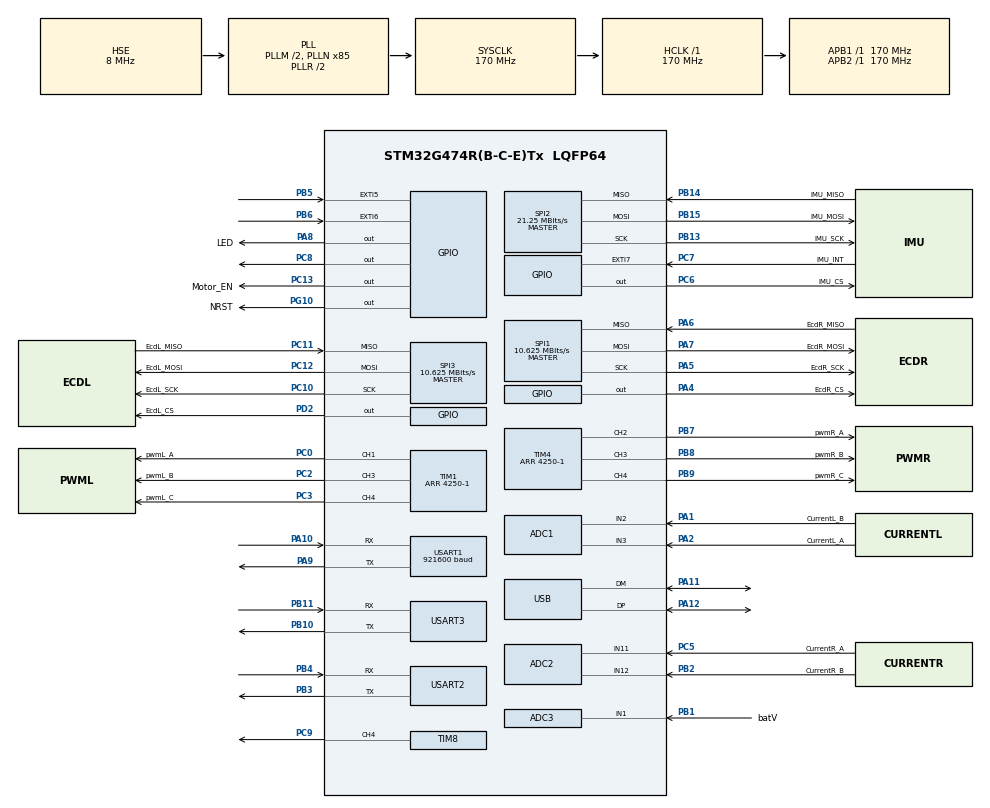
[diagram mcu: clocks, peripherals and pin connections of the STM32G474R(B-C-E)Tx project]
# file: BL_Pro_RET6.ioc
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ADC1.Channel-1\#ChannelRegularConversion=ADC_CHANNEL_3
ADC1.Channel-2\#ChannelRegularConversion=ADC_CHANNEL_2
ADC1.DMAContinuousRequests=ENABLE
ADC1.EOCSelection=ADC_EOC_SEQ_CONV
ADC1.ExternalTrigConv=ADC_EXTERNALTRIG_T3_CC4
ADC1.ExternalTrigConvEdge=ADC_EXTERNALTRIGCONVEDGE_FALLING
ADC1.NbrOfConversion=2
ADC1.NbrOfConversionFlag=1
ADC1.OffsetNumber-1\#ChannelRegularConversion=ADC_OFFSET_NONE
ADC1.OffsetNumber-2\#ChannelRegularConversion=ADC_OFFSET_NONE
ADC1.OversamplingMode=DISABLE
ADC1.Rank-1\#ChannelRegularConversion=1
ADC1.Rank-2\#ChannelRegularConversion=2
ADC1.SamplingTime-1\#ChannelRegularConversion=ADC_SAMPLETIME_24CYCLES_5
ADC1.SamplingTime-2\#ChannelRegularConversion=ADC_SAMPLETIME_24CYCLES_5
ADC1.master=1
ADC2.Channel-2\#ChannelRegularConversion=ADC_CHANNEL_11
ADC2.Channel-3\#ChannelRegularConversion=ADC_CHANNEL_12
ADC2.DMAContinuousRequests=ENABLE
ADC2.EOCSelection=ADC_EOC_SEQ_CONV
ADC2.ExternalTrigConv=ADC_EXTERNALTRIG_T2_CC2
ADC2.ExternalTrigConvEdge=ADC_EXTERNALTRIGCONVEDGE_FALLING
ADC2.NbrOfConversion=2
ADC2.NbrOfConversionFlag=1
ADC2.OffsetNumber-2\#ChannelRegularConversion=ADC_OFFSET_NONE
ADC2.OffsetNumber-3\#ChannelRegularConversion=ADC_OFFSET_NONE
ADC2.Rank-2\#ChannelRegularConversion=1
ADC2.Rank-3\#ChannelRegularConversion=2
ADC2.SamplingTime-2\#ChannelRegularConversion=ADC_SAMPLETIME_24CYCLES_5
ADC2.SamplingTime-3\#ChannelRegularConversion=ADC_SAMPLETIME_24CYCLES_5
ADC3.Channel-0\#ChannelRegularConversion=ADC_CHANNEL_1
ADC3.NbrOfConversionFlag=1
ADC3.OffsetNumber-0\#ChannelRegularConversion=ADC_OFFSET_NONE
ADC3.OversamplingMode=ENABLE
ADC3.Rank-0\#ChannelRegularConversion=1
ADC3.Ratio=ADC_OVERSAMPLING_RATIO_4
ADC3.RightBitShift=ADC_RIGHTBITSHIFT_2
ADC3.SamplingTime-0\#ChannelRegularConversion=ADC_SAMPLETIME_247CYCLES_5
ADC3.master=1
Dma.ADC1.2.Direction=DMA_PERIPH_TO_MEMORY
Dma.ADC1.2.EventEnable=DISABLE
Dma.ADC1.2.Instance=DMA1_Channel1
Dma.ADC1.2.MemDataAlignment=DMA_MDATAALIGN_HALFWORD
Dma.ADC1.2.MemInc=DMA_MINC_ENABLE
Dma.ADC1.2.Mode=DMA_CIRCULAR
Dma.ADC1.2.PeriphDataAlignment=DMA_PDATAALIGN_HALFWORD
Dma.ADC1.2.PeriphInc=DMA_PINC_DISABLE
Dma.ADC1.2.Polarity=HAL_DMAMUX_REQ_GEN_RISING
Dma.ADC1.2.Priority=DMA_PRIORITY_HIGH
Dma.ADC1.2.RequestNumber=1
Dma.ADC1.2.SignalID=NONE
Dma.ADC1.2.SyncEnable=DISABLE
Dma.ADC1.2.SyncPolarity=HAL_DMAMUX_SYNC_NO_EVENT
Dma.ADC1.2.SyncRequestNumber=1
Dma.ADC1.2.SyncSignalID=NONE
Dma.ADC2.3.Direction=DMA_PERIPH_TO_MEMORY
Dma.ADC2.3.EventEnable=DISABLE
Dma.ADC2.3.Instance=DMA1_Channel2
Dma.ADC2.3.MemDataAlignment=DMA_MDATAALIGN_HALFWORD
Dma.ADC2.3.MemInc=DMA_MINC_ENABLE
Dma.ADC2.3.Mode=DMA_CIRCULAR
Dma.ADC2.3.PeriphDataAlignment=DMA_PDATAALIGN_HALFWORD
Dma.ADC2.3.PeriphInc=DMA_PINC_DISABLE
Dma.ADC2.3.Polarity=HAL_DMAMUX_REQ_GEN_RISING
Dma.ADC2.3.Priority=DMA_PRIORITY_HIGH
Dma.ADC2.3.RequestNumber=1
Dma.ADC2.3.SignalID=NONE
Dma.ADC2.3.SyncEnable=DISABLE
Dma.ADC2.3.SyncPolarity=HAL_DMAMUX_SYNC_NO_EVENT
Dma.ADC2.3.SyncRequestNumber=1
Dma.ADC2.3.SyncSignalID=NONE
Dma.Request0=SPI3_TX
Dma.Request1=SPI3_RX
Dma.Request2=ADC1
Dma.Request3=ADC2
Dma.Request4=SPI2_RX
Dma.Request5=SPI2_TX
Dma.Request6=USART1_RX
Dma.SPI2_RX.4.Direction=DMA_PERIPH_TO_MEMORY
Dma.SPI2_RX.4.EventEnable=DISABLE
Dma.SPI2_RX.4.Instance=DMA1_Channel5
Dma.SPI2_RX.4.MemDataAlignment=DMA_MDATAALIGN_BYTE
Dma.SPI2_RX.4.MemInc=DMA_MINC_ENABLE
Dma.SPI2_RX.4.Mode=DMA_NORMAL
Dma.SPI2_RX.4.PeriphDataAlignment=DMA_PDATAALIGN_BYTE
Dma.SPI2_RX.4.PeriphInc=DMA_PINC_DISABLE
Dma.SPI2_RX.4.Polarity=HAL_DMAMUX_REQ_GEN_RISING
Dma.SPI2_RX.4.Priority=DMA_PRIORITY_HIGH
Dma.SPI2_RX.4.RequestNumber=1
Dma.SPI2_RX.4.SignalID=NONE
Dma.SPI2_RX.4.SyncEnable=DISABLE
Dma.SPI2_RX.4.SyncPolarity=HAL_DMAMUX_SYNC_NO_EVENT
Dma.SPI2_RX.4.SyncRequestNumber=1
Dma.SPI2_RX.4.SyncSignalID=NONE
Dma.SPI2_TX.5.Direction=DMA_MEMORY_TO_PERIPH
Dma.SPI2_TX.5.EventEnable=DISABLE
Dma.SPI2_TX.5.Instance=DMA1_Channel6
Dma.SPI2_TX.5.MemDataAlignment=DMA_MDATAALIGN_BYTE
Dma.SPI2_TX.5.MemInc=DMA_MINC_ENABLE
Dma.SPI2_TX.5.Mode=DMA_NORMAL
Dma.SPI2_TX.5.PeriphDataAlignment=DMA_PDATAALIGN_BYTE
Dma.SPI2_TX.5.PeriphInc=DMA_PINC_DISABLE
Dma.SPI2_TX.5.Polarity=HAL_DMAMUX_REQ_GEN_RISING
Dma.SPI2_TX.5.Priority=DMA_PRIORITY_HIGH
Dma.SPI2_TX.5.RequestNumber=1
Dma.SPI2_TX.5.SignalID=NONE
Dma.SPI2_TX.5.SyncEnable=DISABLE
Dma.SPI2_TX.5.SyncPolarity=HAL_DMAMUX_SYNC_NO_EVENT
Dma.SPI2_TX.5.SyncRequestNumber=1
Dma.SPI2_TX.5.SyncSignalID=NONE
Dma.SPI3_RX.1.Direction=DMA_PERIPH_TO_MEMORY
Dma.SPI3_RX.1.EventEnable=DISABLE
Dma.SPI3_RX.1.Instance=DMA1_Channel4
Dma.SPI3_RX.1.MemDataAlignment=DMA_MDATAALIGN_HALFWORD
Dma.SPI3_RX.1.MemInc=DMA_MINC_ENABLE
Dma.SPI3_RX.1.Mode=DMA_NORMAL
Dma.SPI3_RX.1.PeriphDataAlignment=DMA_PDATAALIGN_HALFWORD
Dma.SPI3_RX.1.PeriphInc=DMA_PINC_DISABLE
Dma.SPI3_RX.1.Polarity=HAL_DMAMUX_REQ_GEN_RISING
Dma.SPI3_RX.1.Priority=DMA_PRIORITY_MEDIUM
Dma.SPI3_RX.1.RequestNumber=1
Dma.SPI3_RX.1.SignalID=NONE
Dma.SPI3_RX.1.SyncEnable=DISABLE
Dma.SPI3_RX.1.SyncPolarity=HAL_DMAMUX_SYNC_NO_EVENT
Dma.SPI3_RX.1.SyncRequestNumber=1
Dma.SPI3_RX.1.SyncSignalID=NONE
Dma.SPI3_TX.0.Direction=DMA_MEMORY_TO_PERIPH
Dma.SPI3_TX.0.EventEnable=DISABLE
Dma.SPI3_TX.0.Instance=DMA1_Channel3
Dma.SPI3_TX.0.MemDataAlignment=DMA_MDATAALIGN_HALFWORD
Dma.SPI3_TX.0.MemInc=DMA_MINC_ENABLE
Dma.SPI3_TX.0.Mode=DMA_NORMAL
Dma.SPI3_TX.0.PeriphDataAlignment=DMA_PDATAALIGN_HALFWORD
Dma.SPI3_TX.0.PeriphInc=DMA_PINC_DISABLE
Dma.SPI3_TX.0.Polarity=HAL_DMAMUX_REQ_GEN_RISING
Dma.SPI3_TX.0.Priority=DMA_PRIORITY_MEDIUM
Dma.SPI3_TX.0.RequestNumber=1
Dma.SPI3_TX.0.SignalID=NONE
Dma.SPI3_TX.0.SyncEnable=DISABLE
Dma.SPI3_TX.0.SyncPolarity=HAL_DMAMUX_SYNC_NO_EVENT
Dma.SPI3_TX.0.SyncRequestNumber=1
Dma.SPI3_TX.0.SyncSignalID=NONE
Dma.USART1_RX.6.Direction=DMA_PERIPH_TO_MEMORY
Dma.USART1_RX.6.EventEnable=DISABLE
Dma.USART1_RX.6.Instance=DMA1_Channel7
Dma.USART1_RX.6.MemDataAlignment=DMA_MDATAALIGN_BYTE
Dma.USART1_RX.6.MemInc=DMA_MINC_ENABLE
Dma.USART1_RX.6.Mode=DMA_CIRCULAR
Dma.USART1_RX.6.PeriphDataAlignment=DMA_PDATAALIGN_BYTE
Dma.USART1_RX.6.PeriphInc=DMA_PINC_DISABLE
Dma.USART1_RX.6.Polarity=HAL_DMAMUX_REQ_GEN_RISING
Dma.USART1_RX.6.Priority=DMA_PRIORITY_MEDIUM
Dma.USART1_RX.6.RequestNumber=1
Dma.USART1_RX.6.SignalID=NONE
Dma.USART1_RX.6.SyncEnable=DISABLE
Dma.USART1_RX.6.SyncPolarity=HAL_DMAMUX_SYNC_NO_EVENT
Dma.USART1_RX.6.SyncRequestNumber=1
Dma.USART1_RX.6.SyncSignalID=NONE
Mcu.Family=STM32G4
Mcu.Name=STM32G474R(B-C-E)Tx
Mcu.Package=LQFP64
NVIC.DMA1_Channel1_IRQn=true\:0\:0\:false\:false\:true\:false\:true\:true
NVIC.DMA1_Channel2_IRQn=true\:0\:0\:false\:false\:true\:false\:true\:true
NVIC.DMA1_Channel3_IRQn=true\:0\:0\:false\:false\:true\:false\:true\:true
NVIC.DMA1_Channel4_IRQn=true\:0\:0\:false\:false\:true\:false\:true\:true
NVIC.DMA1_Channel5_IRQn=true\:0\:0\:false\:false\:true\:false\:true\:true
NVIC.DMA1_Channel6_IRQn=true\:0\:0\:false\:false\:true\:false\:true\:true
NVIC.DMA1_Channel7_IRQn=true\:0\:0\:false\:false\:true\:false\:true\:true
NVIC.EXTI9_5_IRQn=true\:1\:0\:true\:false\:true\:true\:true\:true
NVIC.PriorityGroup=NVIC_PRIORITYGROUP_4
NVIC.TIM5_IRQn=true\:0\:0\:false\:false\:true\:true\:true\:true
NVIC.USART1_IRQn=true\:2\:0\:true\:false\:true\:true\:true\:true
NVIC.USB_LP_IRQn=true\:0\:0\:false\:false\:true\:false\:true\:true
PA1.GPIO_Label=CurrentL_B
PA1.Mode=IN2-Single-Ended
PA1.Signal=ADC1_IN2
PA10.Mode=Asynchronous
PA10.Signal=USART1_RX
PA11.Mode=Device
PA11.Signal=USB_DM
PA12.Mode=Device
PA12.Signal=USB_DP
PA13.Mode=Serial_Wire
PA13.Signal=SYS_JTMS-SWDIO
PA14.Mode=Serial_Wire
PA14.Signal=SYS_JTCK-SWCLK
PA2.GPIO_Label=CurrentL_A
PA2.Mode=IN3-Single-Ended
PA2.Signal=ADC1_IN3
PA3.Signal=LPUART1_RX
PA4.GPIO_Label=EcdR_CS
PA4.Signal=GPIO_Output
PA5.GPIO_Label=EcdR_SCK
PA5.Mode=Full_Duplex_Master
PA5.Signal=SPI1_SCK
PA6.GPIO_Label=EcdR_MISO
PA6.Mode=Full_Duplex_Master
PA6.Signal=SPI1_MISO
PA7.GPIO_Label=EcdR_MOSI
PA7.Mode=Full_Duplex_Master
PA7.Signal=SPI1_MOSI
PA8.GPIO_Label=LED
PA8.GPIO_ModeDefaultOutputPP=GPIO_MODE_OUTPUT_PP
PA8.GPIO_Speed=GPIO_SPEED_FREQ_HIGH
PA8.PinState=GPIO_PIN_SET
PA8.Signal=GPIO_Output
PA9.Mode=Asynchronous
PA9.Signal=USART1_TX
PB1.GPIO_Label=batV
PB1.Mode=IN1-Single-Ended
PB1.Signal=ADC3_IN1
PB10.Mode=Asynchronous
PB10.Signal=USART3_TX
PB11.Mode=Asynchronous
PB11.Signal=USART3_RX
PB13.GPIO_Label=IMU_SCK
PB13.GPIO_Speed=GPIO_SPEED_FREQ_VERY_HIGH
PB13.Mode=Full_Duplex_Master
PB13.Signal=SPI2_SCK
PB14.GPIO_Label=IMU_MISO
PB14.GPIO_Speed=GPIO_SPEED_FREQ_VERY_HIGH
PB14.Mode=Full_Duplex_Master
PB14.Signal=SPI2_MISO
PB15.GPIO_Label=IMU_MOSI
PB15.GPIO_Speed=GPIO_SPEED_FREQ_VERY_HIGH
PB15.Mode=Full_Duplex_Master
PB15.Signal=SPI2_MOSI
PB2.GPIO_Label=CurrentR_B
PB2.Mode=IN12-Single-Ended
PB2.Signal=ADC2_IN12
PB3.Mode=Asynchronous
PB3.Signal=USART2_TX
PB4.Mode=Asynchronous
PB4.Signal=USART2_RX
PB5.Signal=GPXTI5
PB6.Signal=GPXTI6
PB7.GPIO_Label=pwmR_A
PB7.Signal=S_TIM4_CH2
PB8-BOOT0.GPIO_Label=pwmR_B
PB8-BOOT0.Signal=S_TIM4_CH3
PB9.GPIO_Label=pwmR_C
PB9.Signal=S_TIM4_CH4
PC0.GPIO_Label=pwmL_A
PC0.Signal=S_TIM1_CH1
PC1.Signal=LPUART1_TX
PC10.GPIO_Label=EcdL_SCK
PC10.Mode=Full_Duplex_Master
PC10.Signal=SPI3_SCK
PC11.GPIO_Label=EcdL_MISO
PC11.Mode=Full_Duplex_Master
PC11.Signal=SPI3_MISO
PC12.GPIO_Label=EcdL_MOSI
PC12.Mode=Full_Duplex_Master
PC12.Signal=SPI3_MOSI
PC13.GPIO_Label=Motor_EN
PC13.GPIO_ModeDefaultOutputPP=GPIO_MODE_OUTPUT_PP
PC13.GPIO_PuPd=GPIO_PULLUP
PC13.PinState=GPIO_PIN_RESET
PC13.Signal=GPIO_Output
PC2.GPIO_Label=pwmL_B
PC2.Signal=S_TIM1_CH3
PC3.GPIO_Label=pwmL_C
PC3.Signal=S_TIM1_CH4
PC5.GPIO_Label=CurrentR_A
PC5.Mode=IN11-Single-Ended
PC5.Signal=ADC2_IN11
PC6.GPIO_Label=IMU_CS
PC6.Signal=GPIO_Output
PC7.GPIO_Label=IMU_INT
PC7.GPIO_PuPd=GPIO_PULLDOWN
PC7.Signal=GPXTI7
PC8.Signal=GPIO_Output
PC9.Signal=S_TIM8_CH4
PD2.GPIO_Label=EcdL_CS
PD2.Signal=GPIO_Output
PF0-OSC_IN.Mode=HSE-External-Oscillator
PF0-OSC_IN.Signal=RCC_OSC_IN
PF1-OSC_OUT.Mode=HSE-External-Oscillator
PF1-OSC_OUT.Signal=RCC_OSC_OUT
PG10-NRST.GPIO_Label=NRST
PG10-NRST.Signal=GPIO_Output
ProjectManager.HeapSize=0x200
ProjectManager.StackSize=0x400
ProjectManager.TargetToolchain=CMake
RCC.ADC12Freq_Value=170000000
RCC.ADC345Freq_Value=170000000
RCC.AHBFreq_Value=170000000
RCC.APB1Freq_Value=170000000
RCC.APB1TimFreq_Value=170000000
RCC.APB2Freq_Value=170000000
RCC.APB2TimFreq_Value=170000000
RCC.CK48CLockSelection=RCC_USBCLKSOURCE_HSI48
RCC.CortexFreq_Value=170000000
RCC.EXTERNAL_CLOCK_VALUE=12288000
RCC.HCLKFreq_Value=170000000
RCC.HSE_VALUE=8000000
RCC.HSI48_VALUE=48000000
RCC.HSI_VALUE=16000000
RCC.LSE_VALUE=32768
RCC.PLLM=RCC_PLLM_DIV2
RCC.PLLN=85
RCC.PLLQ=RCC_PLLQ_DIV4
RCC.PLLSourceVirtual=RCC_PLLSOURCE_HSE
RCC.SYSCLKFreq_VALUE=170000000
RCC.SYSCLKSource=RCC_SYSCLKSOURCE_PLLCLK
RCC.USBFreq_Value=48000000
RCC.VCOOutputFreq_Value=340000000
SH.S_TIM1_CH1.0=TIM1_CH1,PWM Generation1 CH1
SH.S_TIM1_CH3.0=TIM1_CH3,PWM Generation3 CH3
SH.S_TIM1_CH4.0=TIM1_CH4,PWM Generation4 CH4
SH.S_TIM4_CH2.0=TIM4_CH2,PWM Generation2 CH2
SH.S_TIM4_CH3.0=TIM4_CH3,PWM Generation3 CH3
SH.S_TIM4_CH4.0=TIM4_CH4,PWM Generation4 CH4
SH.S_TIM8_CH4.0=TIM8_CH4,PWM Generation4 CH4
SPI1.BaudRatePrescaler=SPI_BAUDRATEPRESCALER_16
SPI1.CLKPhase=SPI_PHASE_2EDGE
SPI1.CalculateBaudRate=10.625 MBits/s
SPI1.DataSize=SPI_DATASIZE_16BIT
SPI1.Direction=SPI_DIRECTION_2LINES
SPI1.Mode=SPI_MODE_MASTER
SPI1.VirtualType=VM_MASTER
SPI2.BaudRatePrescaler=SPI_BAUDRATEPRESCALER_8
SPI2.CalculateBaudRate=21.25 MBits/s
SPI2.DataSize=SPI_DATASIZE_8BIT
SPI2.Direction=SPI_DIRECTION_2LINES
SPI2.Mode=SPI_MODE_MASTER
SPI2.NSSPMode=SPI_NSS_PULSE_DISABLE
SPI2.VirtualType=VM_MASTER
SPI3.BaudRatePrescaler=SPI_BAUDRATEPRESCALER_16
SPI3.CLKPhase=SPI_PHASE_2EDGE
SPI3.CalculateBaudRate=10.625 MBits/s
SPI3.DataSize=SPI_DATASIZE_16BIT
SPI3.Direction=SPI_DIRECTION_2LINES
SPI3.Mode=SPI_MODE_MASTER
SPI3.VirtualType=VM_MASTER
TIM1.AutoReloadPreload=TIM_AUTORELOAD_PRELOAD_ENABLE
TIM1.Channel-PWM\ Generation1\ CH1=TIM_CHANNEL_1
TIM1.Channel-PWM\ Generation3\ CH3=TIM_CHANNEL_3
TIM1.Channel-PWM\ Generation4\ CH4=TIM_CHANNEL_4
TIM1.CounterMode=TIM_COUNTERMODE_CENTERALIGNED1
TIM1.PeriodNoDither=4250-1
TIM1.TIM_MasterOutputTrigger=TIM_TRGO_UPDATE
TIM1.TIM_MasterOutputTrigger2=TIM_TRGO2_RESET
TIM1.TIM_MasterSlaveMode=TIM_MASTERSLAVEMODE_ENABLE
TIM2.AutoReloadPreload=TIM_AUTORELOAD_PRELOAD_ENABLE
TIM2.Channel-PWM\ Generation2\ No\ Output=TIM_CHANNEL_2
TIM2.OCMode_PWM-PWM\ Generation2\ No\ Output=TIM_OCMODE_PWM1
TIM2.PeriodNoDither=8500-1
TIM2.PulseNoDither_2=850
TIM2.TIM_MasterOutputTrigger=TIM_TRGO_UPDATE
TIM2.TIM_MasterSlaveMode=TIM_MASTERSLAVEMODE_ENABLE
TIM3.AutoReloadPreload=TIM_AUTORELOAD_PRELOAD_ENABLE
TIM3.Channel-PWM\ Generation4\ No\ Output=TIM_CHANNEL_4
TIM3.PeriodNoDither=8500-1
TIM3.Prescaler=0
TIM3.PulseNoDither_4=850
TIM3.TIM_MasterSlaveMode=TIM_MASTERSLAVEMODE_ENABLE
TIM4.AutoReloadPreload=TIM_AUTORELOAD_PRELOAD_ENABLE
TIM4.Channel-PWM\ Generation2\ CH2=TIM_CHANNEL_2
TIM4.Channel-PWM\ Generation3\ CH3=TIM_CHANNEL_3
TIM4.Channel-PWM\ Generation4\ CH4=TIM_CHANNEL_4
TIM4.CounterMode=TIM_COUNTERMODE_CENTERALIGNED1
TIM4.PeriodNoDither=4250-1
TIM4.TIM_MasterOutputTrigger=TIM_TRGO_UPDATE
TIM4.TIM_MasterSlaveMode=TIM_MASTERSLAVEMODE_ENABLE
TIM5.AutoReloadPreload=TIM_AUTORELOAD_PRELOAD_DISABLE
TIM5.PeriodNoDither=8500-1
TIM5.Prescaler=2-1
TIM8.AutoReloadPreload=TIM_AUTORELOAD_PRELOAD_ENABLE
TIM8.Channel-PWM\ Generation4\ CH4=TIM_CHANNEL_4
TIM8.OCMode_PWM-PWM\ Generation4\ CH4=TIM_OCMODE_PWM1
TIM8.OCPolarity_4=TIM_OCPOLARITY_HIGH
TIM8.PeriodNoDither=8500-1
TIM8.Prescaler=0
TIM8.PulseNoDither_4=1750
TIM8.TIM_MasterSlaveMode=TIM_MASTERSLAVEMODE_ENABLE
USART1.BaudRate=921600
USART1.VirtualMode-Asynchronous=VM_ASYNC
USART2.VirtualMode-Asynchronous=VM_ASYNC
USART3.VirtualMode-Asynchronous=VM_ASYNC
USB_DEVICE.CLASS_NAME_FS=CDC
USB_DEVICE.VirtualMode=Cdc
USB_DEVICE.VirtualModeFS=Cdc_FS
VP_SYS_VS_DBSignals.Mode=DisableDeadBatterySignals
VP_TIM1_VS_ClockSourceINT.Mode=Internal
VP_TIM2_VS_ClockSourceITR.Mode=TriggerSource_ITR3
VP_TIM2_VS_ControllerModeReset.Mode=Reset Mode
VP_TIM2_VS_no_output2.Mode=PWM Generation2 No Output
VP_TIM3_VS_ClockSourceITR.Mode=TriggerSource_ITR0
VP_TIM3_VS_ControllerModeReset.Mode=Reset Mode
VP_TIM3_VS_no_output4.Mode=PWM Generation4 No Output
VP_TIM4_VS_ClockSourceINT.Mode=Internal
VP_TIM5_VS_ClockSourceINT.Mode=Internal
VP_TIM8_VS_ClockSourceITR.Mode=TriggerSource_ITR0
VP_TIM8_VS_ControllerModeReset.Mode=Reset Mode
VP_USB_DEVICE_VS_USB_DEVICE_CDC_FS.Mode=CDC_FS
board=custom

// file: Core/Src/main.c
/* USER CODE BEGIN Header */
/**
  ******************************************************************************
  * @file           : main.c
  * @brief          : PWM 裸测 —— 仅 TIM1 + TIM4，屏蔽所有其他功能
  ******************************************************************************
  * Copyright (c) 2026 STMicroelectronics. All rights reserved.
  ******************************************************************************
  */
/* USER CODE END Header */
#include "main.h"
#include "adc.h"
#include "dma.h"
#include "spi.h"
#include "tim.h"
#include "usart.h"
#include "usb_device.h"
#include "gpio.h"

/* USER CODE BEGIN Includes */
#include "sys.h"   /* 保留：INT.c 中有 extern AS5047P_Handle encoder_right */
#include <math.h>
#include "stm32g4xx_hal.h"
#include "AS5047P_RW.h"
#include "sensor.h"
#include "BLDCMotor.h"
#include "app_foc.h"
#include "app_attitude.h"
#include "usb_debug.h"
#include "icm42688p.h"
#include "debug_link.h"

/* USER CODE END Includes */

/* USER CODE BEGIN PV */
static uint32_t g_icm_last_print_ms = 0U;

/* USER CODE END PV */

void SystemClock_Config(void);

int main(void)
{

  /* MCU Configuration--------------------------------------------------------*/

  /* Reset of all peripherals, Initializes the Flash interface and the Systick. */
  HAL_Init();

  /* Configure the system clock */
  SystemClock_Config();

  /* Initialize all configured peripherals */
  MX_GPIO_Init();
  MX_DMA_Init();
  MX_ADC1_Init();
  MX_ADC2_Init();
  MX_ADC3_Init();
  MX_USART1_UART_Init();
  MX_USART2_UART_Init();
  MX_USART3_UART_Init();
  MX_TIM4_Init();
  MX_TIM1_Init();
  MX_TIM2_Init();
  MX_TIM3_Init();
  MX_SPI3_Init();
  MX_USB_Device_Init();
  MX_TIM8_Init();
  MX_SPI1_Init();
  MX_TIM5_Init();
  MX_SPI2_Init();
  /* USER CODE BEGIN 2 */
  HAL_Delay(2000);

  App_Attitude_Init();

  DebugLink_Init();
  if (!App_FOCStack_Init()) {
      USB_Debug_Printf("FOC stack init failed, keep bus telemetry only\r\n");
      (void)App_FOC_BusTelemetryInit();
  } else {
      if (!App_StartupCalibrate()) {
          USB_Debug_Printf("FOC startup calibrate failed, keep stack init only\r\n");
      }
  }
  App_FOCControlIT_Enable();

  /* USER CODE END 2 */

  /* Infinite loop */
  while (1)
  {

    /* USER CODE BEGIN 3 */
    App_Attitude_Loop();
    App_FOC_BusTelemetryService();

    /* 更新 DebugLink 状态快照 */
    {
        DebugLink_StatusSnapshot_t st;
        App_AttitudeTelemetry_t att_telem;
        App_FOCTelemetry_t foc_telem;
        App_Attitude_GetTelemetry(&att_telem);
        App_FOC_GetTelemetry(&foc_telem);
        st.tick_ms                  = HAL_GetTick();
        st.pitch_target_deg_x100    = (int16_t)(att_telem.pitch_target_rad * 5729.578f);
        st.speed_p_term_deg_x100    = (int16_t)(att_telem.speed_p_term_rad * 5729.578f);
        st.speed_i_term_deg_x100    = (int16_t)(att_telem.speed_i_term_rad * 5729.578f);
        st.pitch_meas_deg_x100      = (int16_t)(att_telem.pitch_meas_rad * 5729.578f);
        st.pitch_rate_dps_x100      = (int16_t)(att_telem.pitch_rate_meas_radps * 5729.578f);
        st.speed_target_radps_x1000 = (int16_t)(att_telem.speed_target_radps * 1000.0f);
        st.speed_meas_radps_x1000   = (int16_t)(att_telem.speed_meas_radps * 1000.0f);
        st.attitude_p_term_ma     = (int16_t)(att_telem.attitude_p_term_a * 1000.0f);
        st.attitude_d_term_ma     = (int16_t)(att_telem.attitude_d_term_a * 1000.0f);
        st.iq_cmd_ma                = (int16_t)(att_telem.iq_cmd_a * 1000.0f);
        st.iq_cmd_clamped_ma        = (int16_t)(att_telem.iq_cmd_clamped_a * 1000.0f);
        st.speed_output_limit_deg_x100 = (int16_t)(att_telem.speed_output_limit_rad * 5729.578f);
        st.attitude_output_limit_ma = (int16_t)(att_telem.attitude_output_limit_a * 1000.0f);
        st.iq_l_x1000               = (int16_t)(foc_telem.filtered_iq_left_a * 1000.0f);
        st.iq_r_x1000               = (int16_t)(foc_telem.filtered_iq_right_a * 1000.0f);
        st.uq_l_mv                  = (int16_t)(foc_telem.uq_left_v * 1000.0f);
        st.uq_r_mv                  = (int16_t)(foc_telem.uq_right_v * 1000.0f);
        st.bus_mv                   = (uint16_t)(foc_telem.bus_voltage_v * 1000.0f);
        st.fault_flags              = foc_telem.status_flags;
        DebugLink_UpdateStatusSnapshot(&st);
    }

    DebugLink_Process();

    //DebuginWhile();
    //Process_USB_Command();
  }
  /* USER CODE END 3 */
}

void SystemClock_Config(void)
{
  RCC_OscInitTypeDef RCC_OscInitStruct = {0};
  RCC_ClkInitTypeDef RCC_ClkInitStruct = {0};

  /** Configure the main internal regulator output voltage
  */
  HAL_PWREx_ControlVoltageScaling(PWR_REGULATOR_VOLTAGE_SCALE1_BOOST);

  /** Initializes the RCC Oscillators according to the specified parameters
  * in the RCC_OscInitTypeDef structure.
  */
  RCC_OscInitStruct.OscillatorType = RCC_OSCILLATORTYPE_HSI48|RCC_OSCILLATORTYPE_HSE;
  RCC_OscInitStruct.HSEState = RCC_HSE_ON;
  RCC_OscInitStruct.HSI48State = RCC_HSI48_ON;
  RCC_OscInitStruct.PLL.PLLState = RCC_PLL_ON;
  RCC_OscInitStruct.PLL.PLLSource = RCC_PLLSOURCE_HSE;
  RCC_OscInitStruct.PLL.PLLM = RCC_PLLM_DIV2;
  RCC_OscInitStruct.PLL.PLLN = 85;
  RCC_OscInitStruct.PLL.PLLP = RCC_PLLP_DIV2;
  RCC_OscInitStruct.PLL.PLLQ = RCC_PLLQ_DIV4;
  RCC_OscInitStruct.PLL.PLLR = RCC_PLLR_DIV2;
  if (HAL_RCC_OscConfig(&RCC_OscInitStruct) != HAL_OK)
  {
    Error_Handler();
  }

  /** Initializes the CPU, AHB and APB buses clocks
  */
  RCC_ClkInitStruct.ClockType = RCC_CLOCKTYPE_HCLK|RCC_CLOCKTYPE_SYSCLK
                              |RCC_CLOCKTYPE_PCLK1|RCC_CLOCKTYPE_PCLK2;
  RCC_ClkInitStruct.SYSCLKSource = RCC_SYSCLKSOURCE_PLLCLK;
  RCC_ClkInitStruct.AHBCLKDivider = RCC_SYSCLK_DIV1;
  RCC_ClkInitStruct.APB1CLKDivider = RCC_HCLK_DIV1;
  RCC_ClkInitStruct.APB2CLKDivider = RCC_HCLK_DIV1;

  if (HAL_RCC_ClockConfig(&RCC_ClkInitStruct, FLASH_LATENCY_4) != HAL_OK)
  {
    Error_Handler();
  }
}

void Error_Handler(void)
{
  __disable_irq();
  while (1)
  {
  }
}
